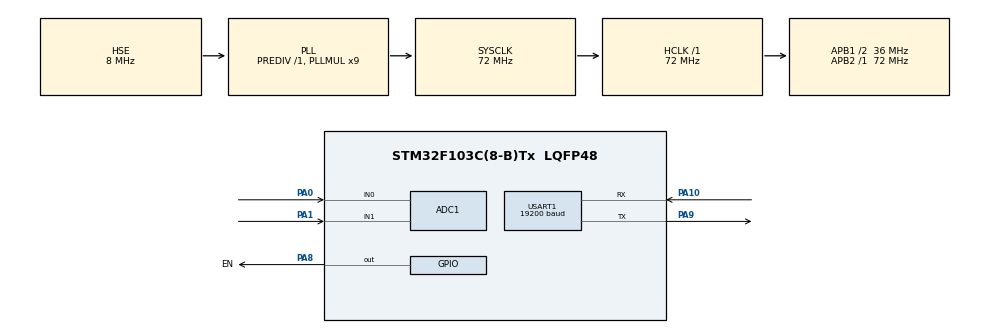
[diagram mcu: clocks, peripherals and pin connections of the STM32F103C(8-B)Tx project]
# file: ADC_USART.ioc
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ADC1.Channel-0\#ChannelRegularConversion=ADC_CHANNEL_0
ADC1.Channel-1\#ChannelRegularConversion=ADC_CHANNEL_1
ADC1.ContinuousConvMode=DISABLE
ADC1.ExternalTrigConv=ADC_EXTERNALTRIGCONV_T3_TRGO
ADC1.NbrOfConversion=2
ADC1.NbrOfConversionFlag=1
ADC1.Rank-0\#ChannelRegularConversion=1
ADC1.Rank-1\#ChannelRegularConversion=2
ADC1.SamplingTime-0\#ChannelRegularConversion=ADC_SAMPLETIME_1CYCLE_5
ADC1.SamplingTime-1\#ChannelRegularConversion=ADC_SAMPLETIME_1CYCLE_5
ADC1.master=1
Dma.ADC1.0.Direction=DMA_PERIPH_TO_MEMORY
Dma.ADC1.0.Instance=DMA1_Channel1
Dma.ADC1.0.MemDataAlignment=DMA_MDATAALIGN_WORD
Dma.ADC1.0.MemInc=DMA_MINC_ENABLE
Dma.ADC1.0.Mode=DMA_CIRCULAR
Dma.ADC1.0.PeriphDataAlignment=DMA_PDATAALIGN_WORD
Dma.ADC1.0.PeriphInc=DMA_PINC_DISABLE
Dma.ADC1.0.Priority=DMA_PRIORITY_LOW
Dma.Request0=ADC1
Mcu.Family=STM32F1
Mcu.Name=STM32F103C(8-B)Tx
Mcu.Package=LQFP48
NVIC.ADC1_2_IRQn=true\:0\:0\:false\:false\:true\:true\:true
NVIC.DMA1_Channel1_IRQn=true\:0\:0\:false\:false\:true\:false\:true
NVIC.PriorityGroup=NVIC_PRIORITYGROUP_4
NVIC.TIM3_IRQn=true\:0\:0\:false\:false\:true\:true\:true
PA0-WKUP.Signal=ADCx_IN0
PA1.Signal=ADCx_IN1
PA10.Mode=Asynchronous
PA10.Signal=USART1_RX
PA13.Mode=Serial_Wire
PA13.Signal=SYS_JTMS-SWDIO
PA14.Mode=Serial_Wire
PA14.Signal=SYS_JTCK-SWCLK
PA8.GPIO_Label=EN
PA8.Signal=GPIO_Output
PA9.Mode=Asynchronous
PA9.Signal=USART1_TX
PD0-OSC_IN.Mode=HSE-External-Oscillator
PD0-OSC_IN.Signal=RCC_OSC_IN
PD1-OSC_OUT.Mode=HSE-External-Oscillator
PD1-OSC_OUT.Signal=RCC_OSC_OUT
ProjectManager.HeapSize=0x200
ProjectManager.StackSize=0x400
ProjectManager.TargetToolchain=MDK-ARM V5.27
RCC.ADCPresc=RCC_ADCPCLK2_DIV8
RCC.AHBFreq_Value=72000000
RCC.APB1CLKDivider=RCC_HCLK_DIV2
RCC.APB1Freq_Value=36000000
RCC.APB1TimFreq_Value=72000000
RCC.APB2Freq_Value=72000000
RCC.APB2TimFreq_Value=72000000
RCC.HCLKFreq_Value=72000000
RCC.PLLMUL=RCC_PLL_MUL9
RCC.PLLSourceVirtual=RCC_PLLSOURCE_HSE
RCC.SYSCLKFreq_VALUE=72000000
RCC.SYSCLKSource=RCC_SYSCLKSOURCE_PLLCLK
RCC.USBFreq_Value=72000000
SH.ADCx_IN0.0=ADC1_IN0,IN0
SH.ADCx_IN1.0=ADC1_IN1,IN1
TIM3.AutoReloadPreload=TIM_AUTORELOAD_PRELOAD_ENABLE
TIM3.Period=1000
TIM3.Prescaler=72-1
TIM3.TIM_MasterOutputTrigger=TIM_TRGO_UPDATE
USART1.BaudRate=19200
USART1.VirtualMode=VM_ASYNC
VP_TIM3_VS_ClockSourceITR.Mode=TriggerSource_ITR0
board=custom

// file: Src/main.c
/* USER CODE BEGIN Header */
/**
  ******************************************************************************
  * @file           : main.c
  * @brief          : Main program body
  ******************************************************************************
  * @attention
  *
  * <h2><center>&copy; Copyright (c) 2020 STMicroelectronics.
  * All rights reserved.</center></h2>
  *
  * This software component is licensed by ST under BSD 3-Clause license,
  * the "License"; You may not use this file except in compliance with the
  * License. You may obtain a copy of the License at:
  *                        opensource.org/licenses/BSD-3-Clause
  *
  ******************************************************************************
  */
/* USER CODE END Header */

#include "main.h"

/* USER CODE BEGIN PD */
#define NUMBER_OF_SAMPLES	500
/* USER CODE END PD */

ADC_HandleTypeDef hadc1;
DMA_HandleTypeDef hdma_adc1;

TIM_HandleTypeDef htim3;

UART_HandleTypeDef huart1;

/* USER CODE BEGIN PV */
uint32_t  value1      = 0;
uint32_t  value2      = 0;
uint32_t	ADC_results[ (NUMBER_OF_SAMPLES*2) + NUMBER_OF_SAMPLES/10];
uint16_t	Voltage = 0;
uint8_t		buffer[2];
/* USER CODE END PV */

void SystemClock_Config(void);
static void MX_GPIO_Init(void);
static void MX_DMA_Init(void);
static void MX_ADC1_Init(void);
static void MX_USART1_UART_Init(void);
static void MX_TIM3_Init(void);
/* USER CODE BEGIN PFP */
void HAL_ADC_ConvCpltCallback(ADC_HandleTypeDef* hadc);
/* USER CODE END PFP */

int main(void)
{

  /* MCU Configuration--------------------------------------------------------*/

  /* Reset of all peripherals, Initializes the Flash interface and the Systick. */
  HAL_Init();

  /* Configure the system clock */
  SystemClock_Config();

  /* Initialize all configured peripherals */
  MX_GPIO_Init();
  MX_DMA_Init();
  MX_ADC1_Init();
  MX_USART1_UART_Init();
  MX_TIM3_Init();
  /* USER CODE BEGIN 2 */
	HAL_TIM_Base_Start(&htim3);
	HAL_ADC_Start_DMA(&hadc1, ADC_results, NUMBER_OF_SAMPLES*2);

  /* USER CODE END 2 */

  /* Infinite loop */
  while (1)
  {

  }
}

void SystemClock_Config(void)
{
  RCC_OscInitTypeDef RCC_OscInitStruct = {0};
  RCC_ClkInitTypeDef RCC_ClkInitStruct = {0};
  RCC_PeriphCLKInitTypeDef PeriphClkInit = {0};

  /** Initializes the CPU, AHB and APB busses clocks
  */
  RCC_OscInitStruct.OscillatorType = RCC_OSCILLATORTYPE_HSE;
  RCC_OscInitStruct.HSEState = RCC_HSE_ON;
  RCC_OscInitStruct.HSEPredivValue = RCC_HSE_PREDIV_DIV1;
  RCC_OscInitStruct.HSIState = RCC_HSI_ON;
  RCC_OscInitStruct.PLL.PLLState = RCC_PLL_ON;
  RCC_OscInitStruct.PLL.PLLSource = RCC_PLLSOURCE_HSE;
  RCC_OscInitStruct.PLL.PLLMUL = RCC_PLL_MUL9;
  if (HAL_RCC_OscConfig(&RCC_OscInitStruct) != HAL_OK)
  {
    Error_Handler();
  }
  /** Initializes the CPU, AHB and APB busses clocks
  */
  RCC_ClkInitStruct.ClockType = RCC_CLOCKTYPE_HCLK|RCC_CLOCKTYPE_SYSCLK
                              |RCC_CLOCKTYPE_PCLK1|RCC_CLOCKTYPE_PCLK2;
  RCC_ClkInitStruct.SYSCLKSource = RCC_SYSCLKSOURCE_PLLCLK;
  RCC_ClkInitStruct.AHBCLKDivider = RCC_SYSCLK_DIV1;
  RCC_ClkInitStruct.APB1CLKDivider = RCC_HCLK_DIV2;
  RCC_ClkInitStruct.APB2CLKDivider = RCC_HCLK_DIV1;

  if (HAL_RCC_ClockConfig(&RCC_ClkInitStruct, FLASH_LATENCY_2) != HAL_OK)
  {
    Error_Handler();
  }
  PeriphClkInit.PeriphClockSelection = RCC_PERIPHCLK_ADC;
  PeriphClkInit.AdcClockSelection = RCC_ADCPCLK2_DIV8;
  if (HAL_RCCEx_PeriphCLKConfig(&PeriphClkInit) != HAL_OK)
  {
    Error_Handler();
  }
}

static void MX_ADC1_Init(void)
{

  ADC_ChannelConfTypeDef sConfig = {0};

  /** Common config
  */
  hadc1.Instance = ADC1;
  hadc1.Init.ScanConvMode = ADC_SCAN_ENABLE;
  hadc1.Init.ContinuousConvMode = DISABLE;
  hadc1.Init.DiscontinuousConvMode = DISABLE;
  hadc1.Init.ExternalTrigConv = ADC_EXTERNALTRIGCONV_T3_TRGO;
  hadc1.Init.DataAlign = ADC_DATAALIGN_RIGHT;
  hadc1.Init.NbrOfConversion = 2;
  if (HAL_ADC_Init(&hadc1) != HAL_OK)
  {
    Error_Handler();
  }
  /** Configure Regular Channel
  */
  sConfig.Channel = ADC_CHANNEL_0;
  sConfig.Rank = ADC_REGULAR_RANK_1;
  sConfig.SamplingTime = ADC_SAMPLETIME_1CYCLE_5;
  if (HAL_ADC_ConfigChannel(&hadc1, &sConfig) != HAL_OK)
  {
    Error_Handler();
  }
  /** Configure Regular Channel
  */
  sConfig.Channel = ADC_CHANNEL_1;
  sConfig.Rank = ADC_REGULAR_RANK_2;
  if (HAL_ADC_ConfigChannel(&hadc1, &sConfig) != HAL_OK)
  {
    Error_Handler();
  }

}

static void MX_TIM3_Init(void)
{

  TIM_SlaveConfigTypeDef sSlaveConfig = {0};
  TIM_MasterConfigTypeDef sMasterConfig = {0};

  htim3.Instance = TIM3;
  htim3.Init.Prescaler = 72-1;
  htim3.Init.CounterMode = TIM_COUNTERMODE_UP;
  htim3.Init.Period = 1000;
  htim3.Init.ClockDivision = TIM_CLOCKDIVISION_DIV1;
  htim3.Init.AutoReloadPreload = TIM_AUTORELOAD_PRELOAD_ENABLE;
  if (HAL_TIM_Base_Init(&htim3) != HAL_OK)
  {
    Error_Handler();
  }
  sSlaveConfig.SlaveMode = TIM_SLAVEMODE_DISABLE;
  sSlaveConfig.InputTrigger = TIM_TS_ITR0;
  if (HAL_TIM_SlaveConfigSynchro(&htim3, &sSlaveConfig) != HAL_OK)
  {
    Error_Handler();
  }
  sMasterConfig.MasterOutputTrigger = TIM_TRGO_UPDATE;
  sMasterConfig.MasterSlaveMode = TIM_MASTERSLAVEMODE_DISABLE;
  if (HAL_TIMEx_MasterConfigSynchronization(&htim3, &sMasterConfig) != HAL_OK)
  {
    Error_Handler();
  }

}

static void MX_USART1_UART_Init(void)
{

  huart1.Instance = USART1;
  huart1.Init.BaudRate = 19200;
  huart1.Init.WordLength = UART_WORDLENGTH_8B;
  huart1.Init.StopBits = UART_STOPBITS_1;
  huart1.Init.Parity = UART_PARITY_NONE;
  huart1.Init.Mode = UART_MODE_TX_RX;
  huart1.Init.HwFlowCtl = UART_HWCONTROL_NONE;
  huart1.Init.OverSampling = UART_OVERSAMPLING_16;
  if (HAL_UART_Init(&huart1) != HAL_OK)
  {
    Error_Handler();
  }

}

static void MX_DMA_Init(void)
{

  /* DMA controller clock enable */
  __HAL_RCC_DMA1_CLK_ENABLE();

  /* DMA interrupt init */
  /* DMA1_Channel1_IRQn interrupt configuration */
  HAL_NVIC_SetPriority(DMA1_Channel1_IRQn, 0, 0);
  HAL_NVIC_EnableIRQ(DMA1_Channel1_IRQn);

}

static void MX_GPIO_Init(void)
{
  GPIO_InitTypeDef GPIO_InitStruct = {0};

  /* GPIO Ports Clock Enable */
  __HAL_RCC_GPIOD_CLK_ENABLE();
  __HAL_RCC_GPIOA_CLK_ENABLE();

  /*Configure GPIO pin Output Level */
  HAL_GPIO_WritePin(EN_GPIO_Port, EN_Pin, GPIO_PIN_RESET);

  /*Configure GPIO pin : EN_Pin */
  GPIO_InitStruct.Pin = EN_Pin;
  GPIO_InitStruct.Mode = GPIO_MODE_OUTPUT_PP;
  GPIO_InitStruct.Pull = GPIO_NOPULL;
  GPIO_InitStruct.Speed = GPIO_SPEED_FREQ_LOW;
  HAL_GPIO_Init(EN_GPIO_Port, &GPIO_InitStruct);

}

/* USER CODE BEGIN 4 */
void HAL_ADC_ConvCpltCallback(ADC_HandleTypeDef* hadc){
	uint32_t sum1 = 0;
	uint32_t sum2 = 0;
	for(int i=0; i<NUMBER_OF_SAMPLES; i++){
		sum1 += ADC_results[ 2 * i    ];
		sum2 += ADC_results[ 2 * i + 1];
	}
	value1 = sum1 / NUMBER_OF_SAMPLES;
	value2 = sum2 / NUMBER_OF_SAMPLES;
	HAL_GPIO_WritePin(EN_GPIO_Port, EN_Pin, GPIO_PIN_SET);
	Voltage = (value1-value2)>0 ? value1-value2 : value2-value1;
	buffer[0] = Voltage >> 8;			//Msb part
	buffer[1] = Voltage >> 0;			//Lsb part
	HAL_UART_Transmit(&huart1, buffer, 2, 500);
	HAL_GPIO_WritePin(EN_GPIO_Port, EN_Pin, GPIO_PIN_RESET);
}
/* USER CODE END 4 */

void Error_Handler(void)
{
}

/************************ (C) COPYRIGHT STMicroelectronics *****END OF FILE****/
